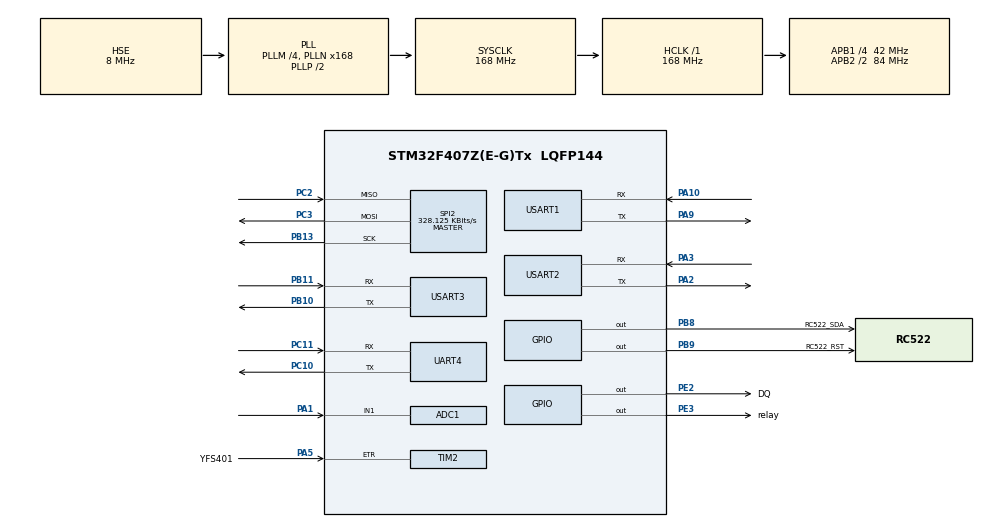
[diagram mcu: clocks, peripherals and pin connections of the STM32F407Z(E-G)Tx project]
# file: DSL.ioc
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ADC1.Channel-1\#ChannelRegularConversion=ADC_CHANNEL_1
ADC1.ClockPrescaler=ADC_CLOCK_SYNC_PCLK_DIV8
ADC1.ContinuousConvMode=ENABLE
ADC1.NbrOfConversionFlag=1
ADC1.Rank-1\#ChannelRegularConversion=1
ADC1.SamplingTime-1\#ChannelRegularConversion=ADC_SAMPLETIME_3CYCLES
ADC1.ScanConvMode=ENABLE
ADC1.master=1
Dma.ADC1.0.Direction=DMA_PERIPH_TO_MEMORY
Dma.ADC1.0.FIFOMode=DMA_FIFOMODE_DISABLE
Dma.ADC1.0.Instance=DMA2_Stream0
Dma.ADC1.0.MemDataAlignment=DMA_MDATAALIGN_WORD
Dma.ADC1.0.MemInc=DMA_MINC_ENABLE
Dma.ADC1.0.Mode=DMA_CIRCULAR
Dma.ADC1.0.PeriphDataAlignment=DMA_PDATAALIGN_WORD
Dma.ADC1.0.PeriphInc=DMA_PINC_DISABLE
Dma.ADC1.0.Priority=DMA_PRIORITY_LOW
Dma.Request0=ADC1
FREERTOS.BinarySemaphores01=HMI_BinarySem,Dynamic,NULL;WiFi_BinarySem,Dynamic,NULL;Flow_BinarySem,Dynamic,NULL
FREERTOS.Mutexes01=Mutex_Trace,Dynamic,NULL
FREERTOS.Tasks01=defaultTask,24,256,StartDefaultTask,Default,NULL,Dynamic,NULL,NULL;HMI_Task,10,256,HMI_StartTask,Default,NULL,Dynamic,NULL,NULL;WiFi_Task,10,256,WiFi_StartTask,Default,NULL,Dynamic,NULL,NULL;RFID_Task,8,256,RFID_StartTask,Default,NULL,Dynamic,NULL,NULL;Value_Task,8,256,Value_StartTask,Default,NULL,Dynamic,NULL,NULL;Flow_Task,11,256,Flow_StartTask,Default,NULL,Dynamic,NULL,NULL
FREERTOS.configGENERATE_RUN_TIME_STATS=1
FREERTOS.configUSE_STATS_FORMATTING_FUNCTIONS=1
Mcu.Family=STM32F4
Mcu.Name=STM32F407Z(E-G)Tx
Mcu.Package=LQFP144
NVIC.DMA2_Stream0_IRQn=true\:5\:0\:false\:false\:true\:true\:false\:true\:true
NVIC.PriorityGroup=NVIC_PRIORITYGROUP_4
NVIC.TIM1_UP_TIM10_IRQn=true\:15\:0\:false\:false\:true\:false\:false\:true\:true
NVIC.TIM7_IRQn=true\:5\:0\:false\:false\:true\:true\:true\:true\:true
NVIC.TimeBase=TIM1_UP_TIM10_IRQn
NVIC.TimeBaseIP=TIM1
NVIC.UART4_IRQn=true\:5\:0\:false\:false\:true\:true\:true\:true\:true
NVIC.USART1_IRQn=true\:5\:0\:false\:false\:true\:true\:true\:true\:true
NVIC.USART2_IRQn=true\:5\:0\:true\:false\:true\:true\:true\:true\:true
NVIC.USART3_IRQn=true\:5\:0\:false\:false\:true\:true\:true\:true\:true
PA1.Signal=ADCx_IN1
PA10.Mode=Asynchronous
PA10.Signal=USART1_RX
PA13.Mode=Serial_Wire
PA13.Signal=SYS_JTMS-SWDIO
PA14.Mode=Serial_Wire
PA14.Signal=SYS_JTCK-SWCLK
PA2.Mode=Asynchronous
PA2.Signal=USART2_TX
PA3.Mode=Asynchronous
PA3.Signal=USART2_RX
PA5.GPIO_Label=YFS401
PA5.GPIO_PuPd=GPIO_PULLDOWN
PA5.GPIO_Speed=GPIO_SPEED_FREQ_HIGH
PA5.Signal=S_TIM2_CH1_ETR
PA9.Mode=Asynchronous
PA9.Signal=USART1_TX
PB10.Mode=Asynchronous
PB10.Signal=USART3_TX
PB11.Mode=Asynchronous
PB11.Signal=USART3_RX
PB13.Mode=Full_Duplex_Master
PB13.Signal=SPI2_SCK
PB8.GPIO_Label=RC522_SDA
PB8.GPIO_PuPd=GPIO_PULLUP
PB8.GPIO_Speed=GPIO_SPEED_FREQ_HIGH
PB8.Signal=GPIO_Output
PB9.GPIO_Label=RC522_RST
PB9.GPIO_ModeDefaultOutputPP=GPIO_MODE_OUTPUT_PP
PB9.GPIO_PuPd=GPIO_PULLUP
PB9.GPIO_Speed=GPIO_SPEED_FREQ_HIGH
PB9.Signal=GPIO_Output
PC10.Mode=Asynchronous
PC10.Signal=UART4_TX
PC11.Mode=Asynchronous
PC11.Signal=UART4_RX
PC2.Mode=Full_Duplex_Master
PC2.Signal=SPI2_MISO
PC3.Mode=Full_Duplex_Master
PC3.Signal=SPI2_MOSI
PE2.GPIO_Label=DQ
PE2.GPIO_ModeDefaultOutputPP=GPIO_MODE_OUTPUT_PP
PE2.GPIO_PuPd=GPIO_PULLUP
PE2.GPIO_Speed=GPIO_SPEED_FREQ_VERY_HIGH
PE2.Signal=GPIO_Output
PE3.GPIO_Label=relay
PE3.GPIO_ModeDefaultOutputPP=GPIO_MODE_OUTPUT_OD
PE3.GPIO_PuPd=GPIO_PULLUP
PE3.PinState=GPIO_PIN_SET
PE3.Signal=GPIO_Output
PH0-OSC_IN.Mode=HSE-External-Oscillator
PH0-OSC_IN.Signal=RCC_OSC_IN
PH1-OSC_OUT.Mode=HSE-External-Oscillator
PH1-OSC_OUT.Signal=RCC_OSC_OUT
ProjectManager.HeapSize=0xC00
ProjectManager.StackSize=0x400
ProjectManager.TargetToolchain=MDK-ARM V5.32
RCC.48MHZClocksFreq_Value=84000000
RCC.AHBFreq_Value=168000000
RCC.APB1CLKDivider=RCC_HCLK_DIV4
RCC.APB1Freq_Value=42000000
RCC.APB1TimFreq_Value=84000000
RCC.APB2CLKDivider=RCC_HCLK_DIV2
RCC.APB2Freq_Value=84000000
RCC.APB2TimFreq_Value=168000000
RCC.CortexFreq_Value=168000000
RCC.HCLKFreq_Value=168000000
RCC.HSE_VALUE=8000000
RCC.HSI_VALUE=16000000
RCC.LSE_VALUE=32768
RCC.PLLM=4
RCC.PLLN=168
RCC.PLLSourceVirtual=RCC_PLLSOURCE_HSE
RCC.SYSCLKFreq_VALUE=168000000
RCC.SYSCLKSource=RCC_SYSCLKSOURCE_PLLCLK
RCC.VCOOutputFreq_Value=336000000
SH.ADCx_IN1.0=ADC1_IN1,IN1
SH.S_TIM2_CH1_ETR.0=TIM2_ETR,ClockSourceETR_Mode2
SPI2.BaudRatePrescaler=SPI_BAUDRATEPRESCALER_128
SPI2.CalculateBaudRate=328.125 KBits/s
SPI2.Direction=SPI_DIRECTION_2LINES
SPI2.Mode=SPI_MODE_MASTER
SPI2.VirtualType=VM_MASTER
TIM7.AutoReloadPreload=TIM_AUTORELOAD_PRELOAD_ENABLE
TIM7.Period=10000-1
TIM7.Prescaler=8400-1
UART4.VirtualMode=Asynchronous
USART1.VirtualMode=VM_ASYNC
USART2.VirtualMode=VM_ASYNC
USART3.VirtualMode=VM_ASYNC
VP_FREERTOS_VS_CMSIS_V2.Mode=CMSIS_V2
VP_SYS_VS_tim1.Mode=TIM1
VP_TIM7_VS_ClockSourceINT.Mode=Enable_Timer
board=custom

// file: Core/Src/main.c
/* USER CODE BEGIN Header */
/**
  ******************************************************************************
  * @file           : main.c
  * @brief          : Main program body
  ******************************************************************************
  * @attention
  *
  * Copyright (c) 2023 STMicroelectronics.
  * All rights reserved.
  *
  * This software is licensed under terms that can be found in the LICENSE file
  * in the root directory of this software component.
  * If no LICENSE file comes with this software, it is provided AS-IS.
  *
  ******************************************************************************
  */
/* USER CODE END Header */
#include "main.h"
#include "cmsis_os.h"
#include "adc.h"
#include "dma.h"
#include "spi.h"
#include "tim.h"
#include "usart.h"
#include "gpio.h"

/* USER CODE BEGIN Includes */

#include "All_Init.h"
#include "YFS401.h"
#include "FreeRTOS.h"

/* USER CODE END Includes */

/* USER CODE BEGIN PV */

extern osSemaphoreId_t Flow_BinarySemHandle;     //流量器二值信号量

/* USER CODE END PV */

void SystemClock_Config(void);
void MX_FREERTOS_Init(void);

int main(void)
{

  /* MCU Configuration--------------------------------------------------------*/

  /* Reset of all peripherals, Initializes the Flash interface and the Systick. */
  HAL_Init();

  /* Configure the system clock */
  SystemClock_Config();

  /* Initialize all configured peripherals */
  MX_GPIO_Init();
  MX_DMA_Init();
  MX_USART1_UART_Init();
  MX_USART2_UART_Init();
  MX_USART3_UART_Init();
  MX_ADC1_Init();
  MX_SPI2_Init();
  MX_TIM2_Init();
  MX_TIM7_Init();
  MX_UART4_Init();
  /* USER CODE BEGIN 2 */

   ALL_Init();

  /* USER CODE END 2 */

  /* Init scheduler */
  osKernelInitialize();  /* Call init function for freertos objects (in freertos.c) */
  MX_FREERTOS_Init();

  /* Start scheduler */
  osKernelStart();

  /* We should never get here as control is now taken by the scheduler */
  /* Infinite loop */
  while (1)
  {

  }
}

void SystemClock_Config(void)
{
  RCC_OscInitTypeDef RCC_OscInitStruct = {0};
  RCC_ClkInitTypeDef RCC_ClkInitStruct = {0};

  /** Configure the main internal regulator output voltage
  */
  __HAL_RCC_PWR_CLK_ENABLE();
  __HAL_PWR_VOLTAGESCALING_CONFIG(PWR_REGULATOR_VOLTAGE_SCALE1);

  /** Initializes the RCC Oscillators according to the specified parameters
  * in the RCC_OscInitTypeDef structure.
  */
  RCC_OscInitStruct.OscillatorType = RCC_OSCILLATORTYPE_HSE;
  RCC_OscInitStruct.HSEState = RCC_HSE_ON;
  RCC_OscInitStruct.PLL.PLLState = RCC_PLL_ON;
  RCC_OscInitStruct.PLL.PLLSource = RCC_PLLSOURCE_HSE;
  RCC_OscInitStruct.PLL.PLLM = 4;
  RCC_OscInitStruct.PLL.PLLN = 168;
  RCC_OscInitStruct.PLL.PLLP = RCC_PLLP_DIV2;
  RCC_OscInitStruct.PLL.PLLQ = 4;
  if (HAL_RCC_OscConfig(&RCC_OscInitStruct) != HAL_OK)
  {
    Error_Handler();
  }

  /** Initializes the CPU, AHB and APB buses clocks
  */
  RCC_ClkInitStruct.ClockType = RCC_CLOCKTYPE_HCLK|RCC_CLOCKTYPE_SYSCLK
                              |RCC_CLOCKTYPE_PCLK1|RCC_CLOCKTYPE_PCLK2;
  RCC_ClkInitStruct.SYSCLKSource = RCC_SYSCLKSOURCE_PLLCLK;
  RCC_ClkInitStruct.AHBCLKDivider = RCC_SYSCLK_DIV1;
  RCC_ClkInitStruct.APB1CLKDivider = RCC_HCLK_DIV4;
  RCC_ClkInitStruct.APB2CLKDivider = RCC_HCLK_DIV2;

  if (HAL_RCC_ClockConfig(&RCC_ClkInitStruct, FLASH_LATENCY_5) != HAL_OK)
  {
    Error_Handler();
  }
}

/* USER CODE BEGIN 4 */
extern osThreadId_t myTask05Handle;
/* USER CODE END 4 */

void HAL_TIM_PeriodElapsedCallback(TIM_HandleTypeDef *htim)
{
  if (htim->Instance == TIM1) {
    HAL_IncTick();
  }
  /* USER CODE BEGIN Callback 1 */
    if (htim->Instance == TIM7)
    {
        golbal_flow.pluse_1s = __HAL_TIM_GET_COUNTER(&htim2);   //得到TIM2的脉冲计数
        __HAL_TIM_SET_COUNTER(&htim2,0);                        //TIM2计数清零

//        golbal_flow.receive_flag = 1;

        // 信号量释放
        osSemaphoreRelease(Flow_BinarySemHandle);
    }
  /* USER CODE END Callback 1 */
}

void Error_Handler(void)
{
  __disable_irq();
  while (1)
  {
  }
}

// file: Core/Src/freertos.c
/* USER CODE BEGIN Header */
/**
  ******************************************************************************
  * File Name          : freertos.c
  * Description        : Code for freertos applications
  ******************************************************************************
  * @attention
  *
  * Copyright (c) 2023 STMicroelectronics.
  * All rights reserved.
  *
  * This software is licensed under terms that can be found in the LICENSE file
  * in the root directory of this software component.
  * If no LICENSE file comes with this software, it is provided AS-IS.
  *
  ******************************************************************************
  */
/* USER CODE END Header */

#include "FreeRTOS.h"
#include "task.h"
#include "main.h"
#include "cmsis_os.h"

/* USER CODE BEGIN Includes */

#include "string.h"
#include "stdio.h"
#include "usart.h"
#include "adc.h"
#include "All_Init.h"
#include "DS18B20.h"
#include "usart_dsl.h"
#include "TDS.h"
#include "ESP8266.h"
#include "RC522.h"
#include "YFS401.h"

/* USER CODE END Includes */

/* USER CODE BEGIN PM */

float Ds18b20_Get_Temp(void);   //声明，否则有警告
void Trace_Task(void);

/* USER CODE END PM */

/* USER CODE BEGIN Variables */

char taskInfoBuffer[512]; // 用于存储任务信息的较大缓冲
char ESP8266_message[500] = {0};

/* USER CODE END Variables */
/* Definitions for defaultTask */
osThreadId_t defaultTaskHandle;
const osThreadAttr_t defaultTask_attributes = {
  .name = "defaultTask",
  .stack_size = 256 * 4,
  .priority = (osPriority_t) osPriorityNormal,
};
/* Definitions for HMI_Task */
osThreadId_t HMI_TaskHandle;
const osThreadAttr_t HMI_Task_attributes = {
  .name = "HMI_Task",
  .stack_size = 256 * 4,
  .priority = (osPriority_t) osPriorityLow2,
};
/* Definitions for WiFi_Task */
osThreadId_t WiFi_TaskHandle;
const osThreadAttr_t WiFi_Task_attributes = {
  .name = "WiFi_Task",
  .stack_size = 256 * 4,
  .priority = (osPriority_t) osPriorityLow2,
};
/* Definitions for RFID_Task */
osThreadId_t RFID_TaskHandle;
const osThreadAttr_t RFID_Task_attributes = {
  .name = "RFID_Task",
  .stack_size = 256 * 4,
  .priority = (osPriority_t) osPriorityLow,
};
/* Definitions for Value_Task */
osThreadId_t Value_TaskHandle;
const osThreadAttr_t Value_Task_attributes = {
  .name = "Value_Task",
  .stack_size = 256 * 4,
  .priority = (osPriority_t) osPriorityLow,
};
/* Definitions for Flow_Task */
osThreadId_t Flow_TaskHandle;
const osThreadAttr_t Flow_Task_attributes = {
  .name = "Flow_Task",
  .stack_size = 256 * 4,
  .priority = (osPriority_t) osPriorityLow3,
};
/* Definitions for Mutex_Trace */
osMutexId_t Mutex_TraceHandle;
const osMutexAttr_t Mutex_Trace_attributes = {
  .name = "Mutex_Trace"
};
/* Definitions for HMI_BinarySem */
osSemaphoreId_t HMI_BinarySemHandle;
const osSemaphoreAttr_t HMI_BinarySem_attributes = {
  .name = "HMI_BinarySem"
};
/* Definitions for WiFi_BinarySem */
osSemaphoreId_t WiFi_BinarySemHandle;
const osSemaphoreAttr_t WiFi_BinarySem_attributes = {
  .name = "WiFi_BinarySem"
};
/* Definitions for Flow_BinarySem */
osSemaphoreId_t Flow_BinarySemHandle;
const osSemaphoreAttr_t Flow_BinarySem_attributes = {
  .name = "Flow_BinarySem"
};

void StartDefaultTask(void *argument);
void HMI_StartTask(void *argument);
void WiFi_StartTask(void *argument);
void RFID_StartTask(void *argument);
void Value_StartTask(void *argument);
void Flow_StartTask(void *argument);

void MX_FREERTOS_Init(void); /* (MISRA C 2004 rule 8.1) */

/* Hook prototypes */
void configureTimerForRunTimeStats(void);
unsigned long getRunTimeCounterValue(void);

/* USER CODE BEGIN 1 */
/* Functions needed when configGENERATE_RUN_TIME_STATS is on */
__weak void configureTimerForRunTimeStats(void)
{

}

__weak unsigned long getRunTimeCounterValue(void)
{
return 0;
}
/* USER CODE END 1 */

void MX_FREERTOS_Init(void) {
  /* Create the mutex(es) */
  /* creation of Mutex_Trace */
  Mutex_TraceHandle = osMutexNew(&Mutex_Trace_attributes);

  /* Create the semaphores(s) */
  /* creation of HMI_BinarySem */
  HMI_BinarySemHandle = osSemaphoreNew(1, 1, &HMI_BinarySem_attributes);

  /* creation of WiFi_BinarySem */
  WiFi_BinarySemHandle = osSemaphoreNew(1, 1, &WiFi_BinarySem_attributes);

  /* creation of Flow_BinarySem */
  Flow_BinarySemHandle = osSemaphoreNew(1, 1, &Flow_BinarySem_attributes);

  /* Create the thread(s) */
  /* creation of defaultTask */
  defaultTaskHandle = osThreadNew(StartDefaultTask, NULL, &defaultTask_attributes);

  /* creation of HMI_Task */
  HMI_TaskHandle = osThreadNew(HMI_StartTask, NULL, &HMI_Task_attributes);

  /* creation of WiFi_Task */
  WiFi_TaskHandle = osThreadNew(WiFi_StartTask, NULL, &WiFi_Task_attributes);

  /* creation of RFID_Task */
  RFID_TaskHandle = osThreadNew(RFID_StartTask, NULL, &RFID_Task_attributes);

  /* creation of Value_Task */
  Value_TaskHandle = osThreadNew(Value_StartTask, NULL, &Value_Task_attributes);

  /* creation of Flow_Task */
  Flow_TaskHandle = osThreadNew(Flow_StartTask, NULL, &Flow_Task_attributes);

}

void StartDefaultTask(void *argument)
{
  /* USER CODE BEGIN StartDefaultTask */

  /* Infinite loop */
  for(;;)
  {
//    Trace_Task();

    osDelay(1000);
  }
  /* USER CODE END StartDefaultTask */
}

void HMI_StartTask(void *argument)
{
  /* USER CODE BEGIN HMI_StartTask */
  /* Infinite loop */
  for(;;)
  {
//      printf("HMI_StartTask");
      // 当串口3(串口屏)接收到数据时，任务被唤醒
      osSemaphoreAcquire(HMI_BinarySemHandle, osWaitForever);

      HMI_Handle();

  }
  /* USER CODE END HMI_StartTask */
}

void WiFi_StartTask(void *argument)
{
  /* USER CODE BEGIN WiFi_StartTask */
  /* Infinite loop */
  for(;;)
  {
      // 当串口1(ESP8266)接收到数据时，任务被唤醒
      osSemaphoreAcquire(WiFi_BinarySemHandle, osWaitForever);

      WiFi_Handle();
  }
  /* USER CODE END WiFi_StartTask */
}

void RFID_StartTask(void *argument)
{
  /* USER CODE BEGIN RFID_StartTask */
  /* Infinite loop */
  for(;;)
  {
    RC522_Read();
    osDelay(1000);
  }
  /* USER CODE END RFID_StartTask */
}

void Value_StartTask(void *argument)
{
  /* USER CODE BEGIN Value_StartTask */
  /* Infinite loop */
  for(;;)
  {
      DSL.Tem = Ds18b20_Get_Temp();
      TDS_GetValue();

//    printf("温度：%f°C",DSL.Tem);

      sprintf(ESP8266_message,"{\"status\": \"Action\",\"dispenser_id\":%d,\"temperature\":%0.1f,\
      \"tds\":%0.1f,\"flow\":%s}",DSL.ID,DSL.Tem,DSL.Tds,DSL.Flow? "true" : "false");
      ESP8266_SendData(ESP8266_message);

      Usart3Printf("t1.txt=\"%0.2f\"\xff\xff\xfft2.txt=\"%0.2f\"\xff\xff\xff",DSL.Tem,DSL.Tds);

      if(DSL.Tds>=85)
      {
        Usart3Printf("main.t2.pco=RED\xff\xff\xff");
      }
      else
      {
        Usart3Printf("main.t2.pco=BLACK\xff\xff\xff");
      }

      LoRaPrintf("status: action,temperature:%0.1f,tds:%0.1f",DSL.Tem,DSL.Tds);

      osDelay(1000);
      HAL_ADC_Start_DMA(&hadc1,(uint32_t *)ADC_DMABuffer,(NUM_CHANNELS*NUM_SAMPLES_PER_CHANNEL)*2);  //启动ADC转换和DMA数据传输
  }
  /* USER CODE END Value_StartTask */
}

void Flow_StartTask(void *argument)
{
  /* USER CODE BEGIN Flow_StartTask */
  /* Infinite loop */
  for(;;)
  {
      // 当TIM7每1秒时，任务被唤醒
      osSemaphoreAcquire(Flow_BinarySemHandle, osWaitForever);

      Flow_Read();
  }
  /* USER CODE END Flow_StartTask */
}

/* USER CODE BEGIN Application */

//==============================================================================
// @函数: void Trace_Task(void)
// @描述: 打印任务
// @参数: None
// @返回: None
// @时间: 2023.11.1
//==============================================================================
void Trace_Task(void)
{
    if (osMutexWait(Mutex_TraceHandle, osWaitForever) == osOK) {
        // 清空任务信息缓冲区
        memset(taskInfoBuffer, 0, sizeof(taskInfoBuffer));

        // 获取任务列表
        vTaskList(taskInfoBuffer);

        // 释放互斥量
        osMutexRelease(Mutex_TraceHandle);
    }
    // 打印所有任务的信息
    printf("任务名称\t\t状态    优先级    剩余栈    编号\n%s\n", taskInfoBuffer);
}
/* USER CODE END Application */
